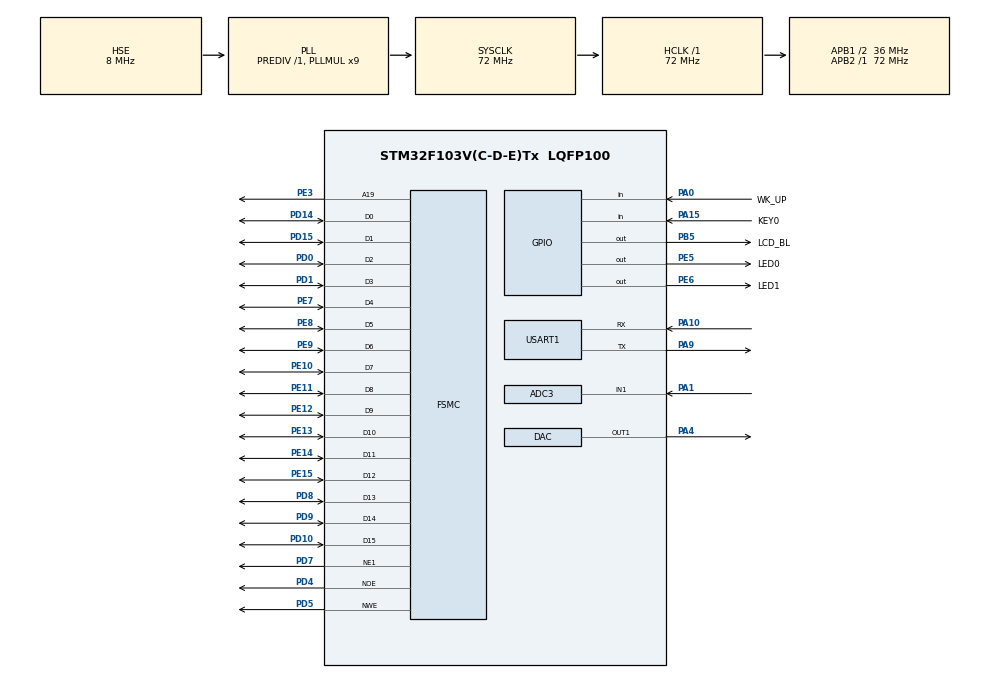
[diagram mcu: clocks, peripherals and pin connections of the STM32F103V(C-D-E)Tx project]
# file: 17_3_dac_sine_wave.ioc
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ADC3.Channel-0\#ChannelRegularConversion=ADC_CHANNEL_1
ADC3.NbrOfConversionFlag=1
ADC3.Rank-0\#ChannelRegularConversion=1
ADC3.SamplingTime-0\#ChannelRegularConversion=ADC_SAMPLETIME_1CYCLE_5
DAC.DAC_OutputBuffer=DAC_OUTPUTBUFFER_DISABLE
DAC.DAC_Trigger=DAC_TRIGGER_T7_TRGO
Dma.DAC_CH1.0.Direction=DMA_MEMORY_TO_PERIPH
Dma.DAC_CH1.0.Instance=DMA2_Channel3
Dma.DAC_CH1.0.MemDataAlignment=DMA_MDATAALIGN_HALFWORD
Dma.DAC_CH1.0.MemInc=DMA_MINC_ENABLE
Dma.DAC_CH1.0.Mode=DMA_CIRCULAR
Dma.DAC_CH1.0.PeriphDataAlignment=DMA_PDATAALIGN_HALFWORD
Dma.DAC_CH1.0.PeriphInc=DMA_PINC_DISABLE
Dma.DAC_CH1.0.Priority=DMA_PRIORITY_MEDIUM
Dma.Request0=DAC_CH1
FSMC.AddressSetupTime1=0
FSMC.DataSetupTime1=15
FSMC.ExtendedAddressSetupTime1=0
FSMC.ExtendedDataSetupTime1=1
FSMC.ExtendedMode1=FSMC_EXTENDED_MODE_ENABLE
Mcu.Family=STM32F1
Mcu.Name=STM32F103V(C-D-E)Tx
Mcu.Package=LQFP100
NVIC.DMA2_Channel3_IRQn=true\:0\:0\:false\:false\:true\:false\:true\:true
NVIC.PriorityGroup=NVIC_PRIORITYGROUP_2
NVIC.USART1_IRQn=true\:2\:2\:true\:false\:true\:true\:true\:true
OSC_IN.Mode=HSE-External-Oscillator
OSC_IN.Signal=RCC_OSC_IN
OSC_OUT.Mode=HSE-External-Oscillator
OSC_OUT.Signal=RCC_OSC_OUT
PA0-WKUP.GPIO_Label=WK_UP
PA0-WKUP.GPIO_PuPd=GPIO_PULLDOWN
PA0-WKUP.Signal=GPIO_Input
PA1.Signal=ADCx_IN1
PA10.Mode=Asynchronous
PA10.Signal=USART1_RX
PA13.Mode=Serial_Wire
PA13.Signal=SYS_JTMS-SWDIO
PA14.Mode=Serial_Wire
PA14.Signal=SYS_JTCK-SWCLK
PA15.GPIO_Label=KEY0
PA15.GPIO_PuPd=GPIO_PULLDOWN
PA15.Signal=GPIO_Input
PA4.Signal=COMP_DAC1_group
PA9.Mode=Asynchronous
PA9.Signal=USART1_TX
PB5.GPIO_Label=LCD_BL
PB5.GPIO_PuPd=GPIO_PULLUP
PB5.GPIO_Speed=GPIO_SPEED_FREQ_HIGH
PB5.PinState=GPIO_PIN_SET
PB5.Signal=GPIO_Output
PC14-OSC32_IN.Mode=LSE-External-Oscillator
PC14-OSC32_IN.Signal=RCC_OSC32_IN
PC15-OSC32_OUT.Mode=LSE-External-Oscillator
PC15-OSC32_OUT.Signal=RCC_OSC32_OUT
PD0.Mode=16b-d1
PD0.Signal=FSMC_D2
PD1.Mode=16b-d1
PD1.Signal=FSMC_D3
PD10.Mode=16b-d1
PD10.Signal=FSMC_D15
PD14.Mode=16b-d1
PD14.Signal=FSMC_D0
PD15.Mode=16b-d1
PD15.Signal=FSMC_D1
PD4.Mode=Lcd1
PD4.Signal=FSMC_NOE
PD5.Mode=Lcd1
PD5.Signal=FSMC_NWE
PD7.Mode=NorPsramChipSelect1_1
PD7.Signal=FSMC_NE1
PD8.Mode=16b-d1
PD8.Signal=FSMC_D13
PD9.Mode=16b-d1
PD9.Signal=FSMC_D14
PE10.Mode=16b-d1
PE10.Signal=FSMC_D7
PE11.Mode=16b-d1
PE11.Signal=FSMC_D8
PE12.Mode=16b-d1
PE12.Signal=FSMC_D9
PE13.Mode=16b-d1
PE13.Signal=FSMC_D10
PE14.Mode=16b-d1
PE14.Signal=FSMC_D11
PE15.Mode=16b-d1
PE15.Signal=FSMC_D12
PE3.Mode=A19_1
PE3.Signal=FSMC_A19
PE5.GPIO_Label=LED0
PE5.GPIO_PuPd=GPIO_PULLUP
PE5.GPIO_Speed=GPIO_SPEED_FREQ_HIGH
PE5.PinState=GPIO_PIN_SET
PE5.Signal=GPIO_Output
PE6.GPIO_Label=LED1
PE6.GPIO_PuPd=GPIO_PULLUP
PE6.GPIO_Speed=GPIO_SPEED_FREQ_HIGH
PE6.PinState=GPIO_PIN_SET
PE6.Signal=GPIO_Output
PE7.Mode=16b-d1
PE7.Signal=FSMC_D4
PE8.Mode=16b-d1
PE8.Signal=FSMC_D5
PE9.Mode=16b-d1
PE9.Signal=FSMC_D6
ProjectManager.HeapSize=0x200
ProjectManager.StackSize=0x400
ProjectManager.TargetToolchain=STM32CubeIDE
RCC.AHBFreq_Value=72000000
RCC.APB1CLKDivider=RCC_HCLK_DIV2
RCC.APB1Freq_Value=36000000
RCC.APB1TimFreq_Value=72000000
RCC.APB2Freq_Value=72000000
RCC.APB2TimFreq_Value=72000000
RCC.HCLKFreq_Value=72000000
RCC.PLLMUL=RCC_PLL_MUL9
RCC.PLLSourceVirtual=RCC_PLLSOURCE_HSE
RCC.SYSCLKFreq_VALUE=72000000
RCC.SYSCLKSource=RCC_SYSCLKSOURCE_PLLCLK
RCC.USBFreq_Value=72000000
SH.ADCx_IN1.0=ADC3_IN1,IN1
SH.COMP_DAC1_group.0=DAC_OUT1,DAC_OUT1
TIM7.AutoReloadPreload=TIM_AUTORELOAD_PRELOAD_ENABLE
TIM7.Period=10-1
TIM7.Prescaler=72-1
TIM7.TIM_MasterOutputTrigger=TIM_TRGO_UPDATE
USART1.VirtualMode=VM_ASYNC
VP_TIM7_VS_ClockSourceINT.Mode=Enable_Timer
board=custom

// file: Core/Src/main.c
/* USER CODE BEGIN Header */
/**
 ****************************************************************************************************
 * @file        main.c
 * @author      ALIENTEK
 * @brief       dac_sine_wave code
 * @license     Copyright (C) 2012-2024, ALIENTEK
 ****************************************************************************************************
 * @attention
 *
 * platform     : ALIENTEK M100-STM32F103 board
 * website      : www.alientek.com
 * forum        : www.openedv.com/forum.php
 *
 * change logs  :
 * version      data         notes
 * V1.0         20240409     the first version
 *
 ****************************************************************************************************
 */
/* USER CODE END Header */
#include "main.h"
#include "adc.h"
#include "dac.h"
#include "dma.h"
#include "tim.h"
#include "usart.h"
#include "gpio.h"
#include "fsmc.h"

/* USER CODE BEGIN Includes */
#include "../../BSP/LED/led.h"
#include "../../BSP/KEY/key.h"
#include "../../BSP/LCD/lcd.h"
/* USER CODE END Includes */

/* USER CODE BEGIN PD */
extern DMA_HandleTypeDef hdma_dac_ch1;
/* USER CODE END PD */

/* USER CODE BEGIN PV */
extern uint16_t g_dac_sin_buf[4096];      /* Send data buffer */
/* USER CODE END PV */

void SystemClock_Config(void);

/* USER CODE BEGIN 0 */
/**
 * @brief   Displays information about the experiment
 * @param   None
 * @retval  None
 */
void stm32f103ve_show_mesg(void)
{
	/* The serial port outputs the experimental information */
	printf("\n");
	printf("********************************\r\n");
	printf("STM32F103\r\n");
	printf("DAC_Sine_Wave Test\r\n");
	printf("ATOM@ALIENTEK\r\n");
	printf("********************************\r\n");
	printf("\r\n");
}
/* USER CODE END 0 */

int main(void)
{
  /* USER CODE BEGIN 1 */
  uint16_t adcx;
  float temp;
  uint8_t t = 0;
  uint8_t key;
  /* USER CODE END 1 */

  /* MCU Configuration--------------------------------------------------------*/

  /* Reset of all peripherals, Initializes the Flash interface and the Systick. */
  HAL_Init();

  /* Configure the system clock */
  SystemClock_Config();

  /* Initialize all configured peripherals */
  MX_GPIO_Init();
  MX_DMA_Init();
  MX_USART1_UART_Init();
  MX_FSMC_Init();
  MX_DAC_Init();
  MX_ADC3_Init();
  MX_TIM7_Init();
  /* USER CODE BEGIN 2 */

  lcd_init();                                         /* Initialize LCD */
  stm32f103ve_show_mesg();
  dac_creat_sin_buf(2048, 100);
  dac_dma_wave_enable(100, 10 - 1, 72 - 1);
  HAL_DMA_Start(&hdma_dac_ch1, (uint32_t)&DAC1->DHR12R1, (uint32_t)g_dac_sin_buf, 0);

  lcd_show_string(30, 50, 200, 16, 16, "STM32", RED);
  lcd_show_string(30, 70, 200, 16, 16, "DAC DMA Sine Wave TEST", RED);
  lcd_show_string(30, 90, 200, 16, 16, "ATOM@ALIENTEK", RED);

  lcd_show_string(30, 110, 200, 16, 16, "WK_UP:Wave1 KEY0:Wave2", RED);

  lcd_show_string(30, 150, 200, 16, 16, "DAC VAL:", BLUE);
  lcd_show_string(30, 170, 200, 16, 16, "DAC VOL:0.000V", BLUE);
  lcd_show_string(30, 190, 200, 16, 16, "ADC VOL:0.000V", BLUE);
  /* USER CODE END 2 */

  /* Infinite loop */
  /* USER CODE BEGIN WHILE */
  while (1)
  {
    t++;
    key = key_scan(0);                               /* Scan key */

    if (key == WKUP_PRES)                            /* High sampling rate, about 5Khz waveform */
    {
      lcd_show_string(30, 130, 200, 16, 16, "DAC Wave1", RED);
      dac_creat_sin_buf(2048, 100);                  /* Generate a sequence of sine wave functions */
      dac_dma_wave_enable(100, 10 - 1, 72 - 1);      /* 5Khz trigger frequency, 100 points to obtain a sine wave of up to 5KHz. */
    }
    else if (key == KEY0_PRES)                       /* Low sampling rate, about 1Khz waveform */
    {
      lcd_show_string(30, 130, 200, 16, 16, "DAC Wave2", RED);
      dac_creat_sin_buf(2048, 10);                   /* Generate a sequence of sine wave functions */
      dac_dma_wave_enable(10, 10 - 1, 72 - 1);       /* With 50Khz trigger frequency and 10 points, a sine wave up to 50KHz can be obtained. */
    }

    adcx = DAC1->DHR12R1;                            /* Get the output status of DAC1_OUT1 */
    lcd_show_xnum(94, 150, adcx, 4, 16, 0, BLUE);    /* Display DAC register values */

    temp = (float)adcx * (3.3 / 4096);               /* The DAC voltage value is obtained */
    adcx = temp;
    lcd_show_xnum(94, 170, temp, 1, 16, 0, BLUE);    /* Display voltage value */

    temp -= adcx;
    temp *= 1000;
    lcd_show_xnum(110, 170, temp, 3, 16, 0X80, BLUE);

    adcx = adc3_get_result_average(10);              /* The conversion result of ADC channel 1 is obtained */
    temp = (float)adcx * (3.3 / 4096);               /* Get the ADC voltage value (adc is 12bit) */
    lcd_show_xnum(94, 190, temp, 1, 16, 0, BLUE);    /* Display the voltage value acquired by the ADC */

    temp -= adcx;
    temp *= 1000;
    lcd_show_xnum(110, 190, temp, 3, 16, 0X80, BLUE);

    LED0_TOGGLE();             /* flashing LED0 indicates that the system is running */
    HAL_Delay(10);             /* delay 10ms */
    /* USER CODE END WHILE */

  }
}

void SystemClock_Config(void)
{
  RCC_OscInitTypeDef RCC_OscInitStruct = {0};
  RCC_ClkInitTypeDef RCC_ClkInitStruct = {0};
  RCC_PeriphCLKInitTypeDef PeriphClkInit = {0};

  /** Initializes the RCC Oscillators according to the specified parameters
  * in the RCC_OscInitTypeDef structure.
  */
  RCC_OscInitStruct.OscillatorType = RCC_OSCILLATORTYPE_HSE;
  RCC_OscInitStruct.HSEState = RCC_HSE_ON;
  RCC_OscInitStruct.HSEPredivValue = RCC_HSE_PREDIV_DIV1;
  RCC_OscInitStruct.HSIState = RCC_HSI_ON;
  RCC_OscInitStruct.PLL.PLLState = RCC_PLL_ON;
  RCC_OscInitStruct.PLL.PLLSource = RCC_PLLSOURCE_HSE;
  RCC_OscInitStruct.PLL.PLLMUL = RCC_PLL_MUL9;
  if (HAL_RCC_OscConfig(&RCC_OscInitStruct) != HAL_OK)
  {
    Error_Handler();
  }

  /** Initializes the CPU, AHB and APB buses clocks
  */
  RCC_ClkInitStruct.ClockType = RCC_CLOCKTYPE_HCLK|RCC_CLOCKTYPE_SYSCLK
                              |RCC_CLOCKTYPE_PCLK1|RCC_CLOCKTYPE_PCLK2;
  RCC_ClkInitStruct.SYSCLKSource = RCC_SYSCLKSOURCE_PLLCLK;
  RCC_ClkInitStruct.AHBCLKDivider = RCC_SYSCLK_DIV1;
  RCC_ClkInitStruct.APB1CLKDivider = RCC_HCLK_DIV2;
  RCC_ClkInitStruct.APB2CLKDivider = RCC_HCLK_DIV1;

  if (HAL_RCC_ClockConfig(&RCC_ClkInitStruct, FLASH_LATENCY_2) != HAL_OK)
  {
    Error_Handler();
  }
  PeriphClkInit.PeriphClockSelection = RCC_PERIPHCLK_ADC;
  PeriphClkInit.AdcClockSelection = RCC_ADCPCLK2_DIV2;
  if (HAL_RCCEx_PeriphCLKConfig(&PeriphClkInit) != HAL_OK)
  {
    Error_Handler();
  }
}

void Error_Handler(void)
{
  __disable_irq();
  while (1)
  {
  }
}
